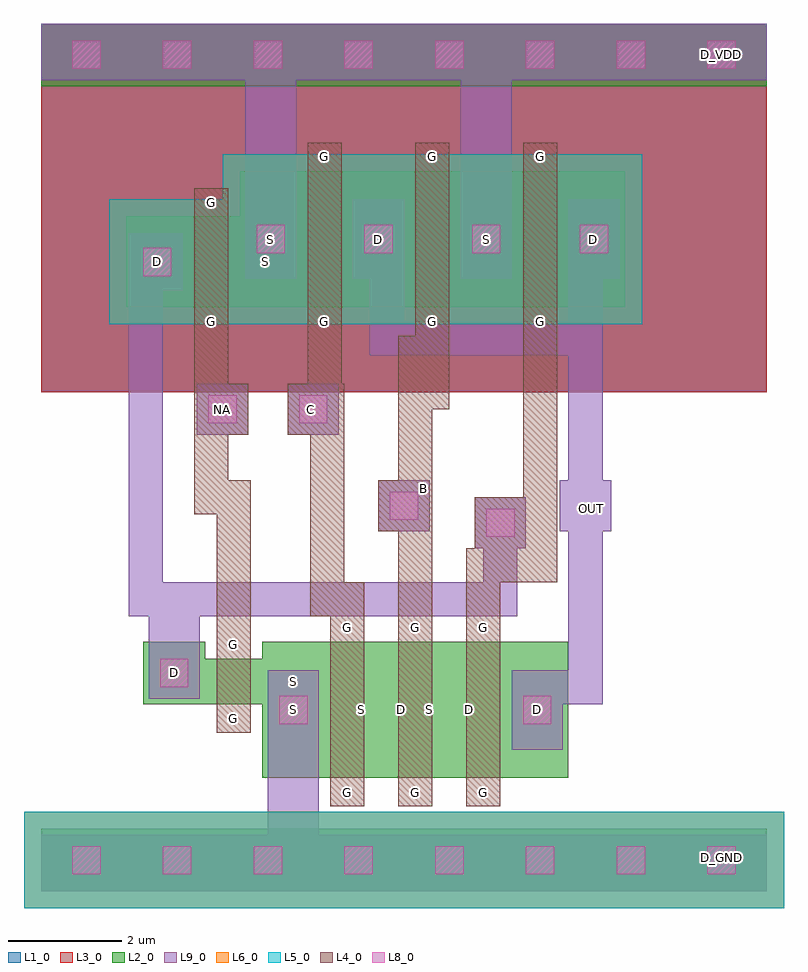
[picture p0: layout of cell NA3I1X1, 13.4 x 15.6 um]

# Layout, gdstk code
import gdstk
lib = gdstk.Library(unit=1e-6, precision=1e-09)
def R(c, l, rs):  # rectangles x0, y0, x1, y1
    for r in rs: c.add(gdstk.rectangle(r[:2], r[2:], *l))
def A(c, l, x, y, w, h, nx, ny, dx, dy):  # array of equal rectangles
    R(c, l, [(x+i*dx, y+j*dy, x+i*dx+w, y+j*dy+h) for i in range(nx) for j in range(ny)])
def P(c, l, *ps):  # polygons
    for p in ps: c.add(gdstk.Polygon(p, *l))
L1_0 = (1, 0)
L2_0 = (2, 0)
L3_0 = (3, 0)
L4_0 = (4, 0)
L5_0 = (5, 0)
L6_0 = (6, 0)
L8_0 = (8, 0)
L9_0 = (9, 0)

na3i1x1 = lib.new_cell('NA3I1X1')
A(na3i1x1, L1_0, 2, 8.8, 6, 5.4, 3, 1, 1.9, 0)
R(na3i1x1, L1_0, [(0,8.8,6,13.4), (0,8.8,12.8,15.3)])
A(na3i1x1, L2_0, 5, 2, 0.8, 2.4, 3, 1, 1.2, 0)
A(na3i1x1, L2_0, 4.6, 10.3, 0.8, 2.4, 3, 1, 1.9, 0)
R(na3i1x1, L2_0, [(0,0,12.8,1.1), (3.9,2,5,4.4), (3.9,2,5,4.4), (5.1,2,6.2,4.4), (5.8,2,6.9,4.4), (6.3,2,7.4,4.4), (7,2,8.1,4.4), (8.2,2,9.3,4.4), (1.8,3.3,2.9,4.4), (2.9,3.3,3.9,4.1), (3.9,3.3,5,4.1), (1.5,10.3,2.6,11.9), (2.6,10.3,3.4,11.9), (3.4,10.3,4.5,11.9), (3.5,10.3,4.6,12.7), (5.4,10.3,6.5,12.7), (5.4,10.3,6.5,12.7), (7.3,10.3,8.4,12.7), (7.3,10.3,8.4,12.7), (9.2,10.3,10.3,12.7), (0,14.2,12.8,15.3)])
A(na3i1x1, L3_0, 2, 8.8, 6, 5.4, 3, 1, 1.9, 0)
R(na3i1x1, L3_0, [(0,8.8,6,13.4), (0,8.8,12.8,15.3)])
A(na3i1x1, L4_0, 5.1, 1.5, 0.6, 0.5, 3, 2, 1.2, 2.9)
A(na3i1x1, L4_0, 5.1, 1.5, 0.6, 3.4, 3, 1, 1.2, 0)
A(na3i1x1, L4_0, 4.7, 9.8, 0.6, 0.5, 3, 2, 1.9, 2.9)
A(na3i1x1, L4_0, 4.7, 9.8, 0.6, 3.4, 3, 1, 1.9, 0)
R(na3i1x1, L4_0, [(3.1,2.8,3.7,3.3), (3.1,2.8,3.7,4.6), (3.1,4.1,3.7,4.6), (3.1,4.6,3.7,6.65), (8.5,5.45,9.1,10.65), (7.65,6.05,8.55,6.95), (5.95,6.35,6.85,7.25), (2.7,6.65,3.3,10.55), (2.75,8.05,3.65,8.95), (4.35,8.05,5.25,8.95), (2.7,9.8,3.3,12.4), (2.7,9.8,3.3,10.3), (2.7,11.9,3.3,12.4)])
P(na3i1x1, L4_0, [(7.5,4.9),(8.1,4.9),(8.1,5.45),(8.7,5.45),(8.7,6.05),(7.5,6.05)],
  [(6.3,4.9),(6.9,4.9),(6.9,8.5),(7.2,8.5),(7.2,9.8),(6.3,9.8)],
  [(2.7,6.65),(3.1,6.65),(3.1,5.6),(3.7,5.6),(3.7,7.25),(2.7,7.25)],
  [(4.7,8.35),(4.75,8.35),(4.75,6.7),(5.35,6.7),(5.35,8.95),(5.3,8.95),(5.3,9.9),(4.7,9.9)],
  [(4.75,4.85),(5.1,4.85),(5.1,4.4),(5.7,4.4),(5.7,5.45),(5.35,5.45),(5.35,6.85),(4.75,6.85)])
A(na3i1x1, L5_0, 3.2, 10, 3.6, 3, 3, 1, 1.9, 0)
R(na3i1x1, L5_0, [(-0.3,-0.3,13.1,1.4), (1.2,10,4.8,12.2)])
A(na3i1x1, L6_0, 3.2, 10, 3.6, 3, 3, 1, 1.9, 0)
R(na3i1x1, L6_0, [(-0.3,-0.3,13.1,1.4), (1.2,10,4.8,12.2)])
A(na3i1x1, L8_0, 0.55, 0.3, 0.5, 0.5, 8, 2, 1.6, 14.2)
R(na3i1x1, L8_0, [(11.75,0.3,12.25,0.8), (4.2,2.95,4.7,3.45), (8.5,2.95,9,3.45), (2.1,3.6,2.6,4.1), (7.85,6.25,8.35,6.75), (6.15,6.55,6.65,7.05), (2.95,8.25,3.45,8.75), (4.55,8.25,5.05,8.75), (1.8,10.85,2.3,11.35), (3.8,11.25,4.3,11.75), (5.7,11.25,6.2,11.75), (5.7,11.25,6.2,11.75), (7.6,11.25,8.1,11.75), (7.6,11.25,8.1,11.75), (9.5,11.25,10,11.75), (11.75,14.5,12.25,15)])
R(na3i1x1, L9_0, [(0,0,12.8,1), (4,0.1,4.9,3.4), (11.55,0.1,12.45,1), (4,2.5,4.9,3.9), (8.3,2.5,9.2,3.9), (1.9,3.4,2.8,4.3), (1.9,4.3,2.8,4.85), (7.65,6.05,8.55,6.95), (5.95,6.35,6.85,7.25), (5.95,6.35,6.85,7.25), (9.15,6.35,10.05,7.25), (2.75,8.05,3.65,8.95), (2.75,8.05,3.65,8.95), (4.35,8.05,5.25,8.95), (4.35,8.05,5.25,8.95), (9.3,8.15,9.9,10.9), (1.6,10.6,2.5,11.6), (3.6,10.8,4.5,12.2), (3.6,10.8,4.5,14.75), (5.5,10.8,6.4,12.2), (5.5,10.8,6.4,12.2), (7.4,10.8,8.3,12.2), (7.4,10.8,8.3,12.2), (7.4,10.8,8.3,14.75), (9.3,10.8,10.2,12.2), (0,14.3,12.8,15.3), (11.55,14.3,12.45,15.2)])
P(na3i1x1, L9_0, [(1.55,4.85),(2.3,4.85),(2.3,5.45),(2.15,5.45),(2.15,11.6),(1.55,11.6)],
  [(8.6,3.3),(9.9,3.3),(9.9,8.75),(9.3,8.75),(9.3,3.9),(8.6,3.9)],
  [(2.05,4.85),(8.4,4.85),(8.4,6.65),(7.8,6.65),(7.8,5.45),(2.05,5.45)],
  [(5.8,9.45),(9.9,9.45),(9.9,10.05),(6.4,10.05),(6.4,12.2),(5.8,12.2)])
na3i1x1.add(gdstk.Label('G', (3,10.052), layer=4, texttype=0))
na3i1x1.add(gdstk.Label('G', (3,12.152), layer=4, texttype=0))
na3i1x1.add(gdstk.Label('S', (3.951,11.101), layer=2, texttype=0))
na3i1x1.add(gdstk.Label('D', (2.051,11.101), layer=9, texttype=0))
na3i1x1.add(gdstk.Label('G', (7.8,1.752), layer=4, texttype=0))
na3i1x1.add(gdstk.Label('G', (7.8,4.652), layer=4, texttype=0))
na3i1x1.add(gdstk.Label('S', (6.849,3.201), layer=2, texttype=0))
na3i1x1.add(gdstk.Label('D', (8.749,3.201), layer=9, texttype=0))
na3i1x1.add(gdstk.Label('G', (3.4,3.052), layer=4, texttype=0))
na3i1x1.add(gdstk.Label('G', (3.4,4.352), layer=4, texttype=0))
na3i1x1.add(gdstk.Label('S', (4.451,3.701), layer=2, texttype=0))
na3i1x1.add(gdstk.Label('D', (2.351,3.851), layer=9, texttype=0))
na3i1x1.add(gdstk.Label('G', (5,10.052), layer=4, texttype=0))
na3i1x1.add(gdstk.Label('G', (5,12.952), layer=4, texttype=0))
na3i1x1.add(gdstk.Label('S', (4.049,11.501), layer=9, texttype=0))
na3i1x1.add(gdstk.Label('D', (5.949,11.501), layer=9, texttype=0))
na3i1x1.add(gdstk.Label('D', (7.549,3.201), layer=2, texttype=0))
na3i1x1.add(gdstk.Label('G', (6.6,1.752), layer=4, texttype=0))
na3i1x1.add(gdstk.Label('G', (6.6,4.652), layer=4, texttype=0))
na3i1x1.add(gdstk.Label('S', (5.649,3.201), layer=2, texttype=0))
na3i1x1.add(gdstk.Label('G', (8.8,10.052), layer=4, texttype=0))
na3i1x1.add(gdstk.Label('G', (8.8,12.952), layer=4, texttype=0))
na3i1x1.add(gdstk.Label('S', (7.849,11.501), layer=9, texttype=0))
na3i1x1.add(gdstk.Label('D', (9.749,11.501), layer=9, texttype=0))
na3i1x1.add(gdstk.Label('D', (6.349,3.201), layer=2, texttype=0))
na3i1x1.add(gdstk.Label('G', (5.4,1.752), layer=4, texttype=0))
na3i1x1.add(gdstk.Label('G', (5.4,4.652), layer=4, texttype=0))
na3i1x1.add(gdstk.Label('S', (4.449,3.201), layer=9, texttype=0))
na3i1x1.add(gdstk.Label('G', (6.9,10.052), layer=4, texttype=0))
na3i1x1.add(gdstk.Label('G', (6.9,12.952), layer=4, texttype=0))
na3i1x1.add(gdstk.Label('S', (7.851,11.501), layer=9, texttype=0))
na3i1x1.add(gdstk.Label('D', (5.951,11.501), layer=9, texttype=0))
na3i1x1.add(gdstk.Label('D_VDD', (12,14.75), layer=50, texttype=0))
na3i1x1.add(gdstk.Label('C', (4.75,8.5), layer=50, texttype=0))
na3i1x1.add(gdstk.Label('B', (6.75,7.1), layer=50, texttype=0))
na3i1x1.add(gdstk.Label('OUT', (9.7,6.75), layer=50, texttype=0))
na3i1x1.add(gdstk.Label('D_GND', (12,0.6), layer=50, texttype=0))
na3i1x1.add(gdstk.Label('NA', (3.2,8.5), layer=50, texttype=0))

lib.write_gds('NA3I1X1.gds')
